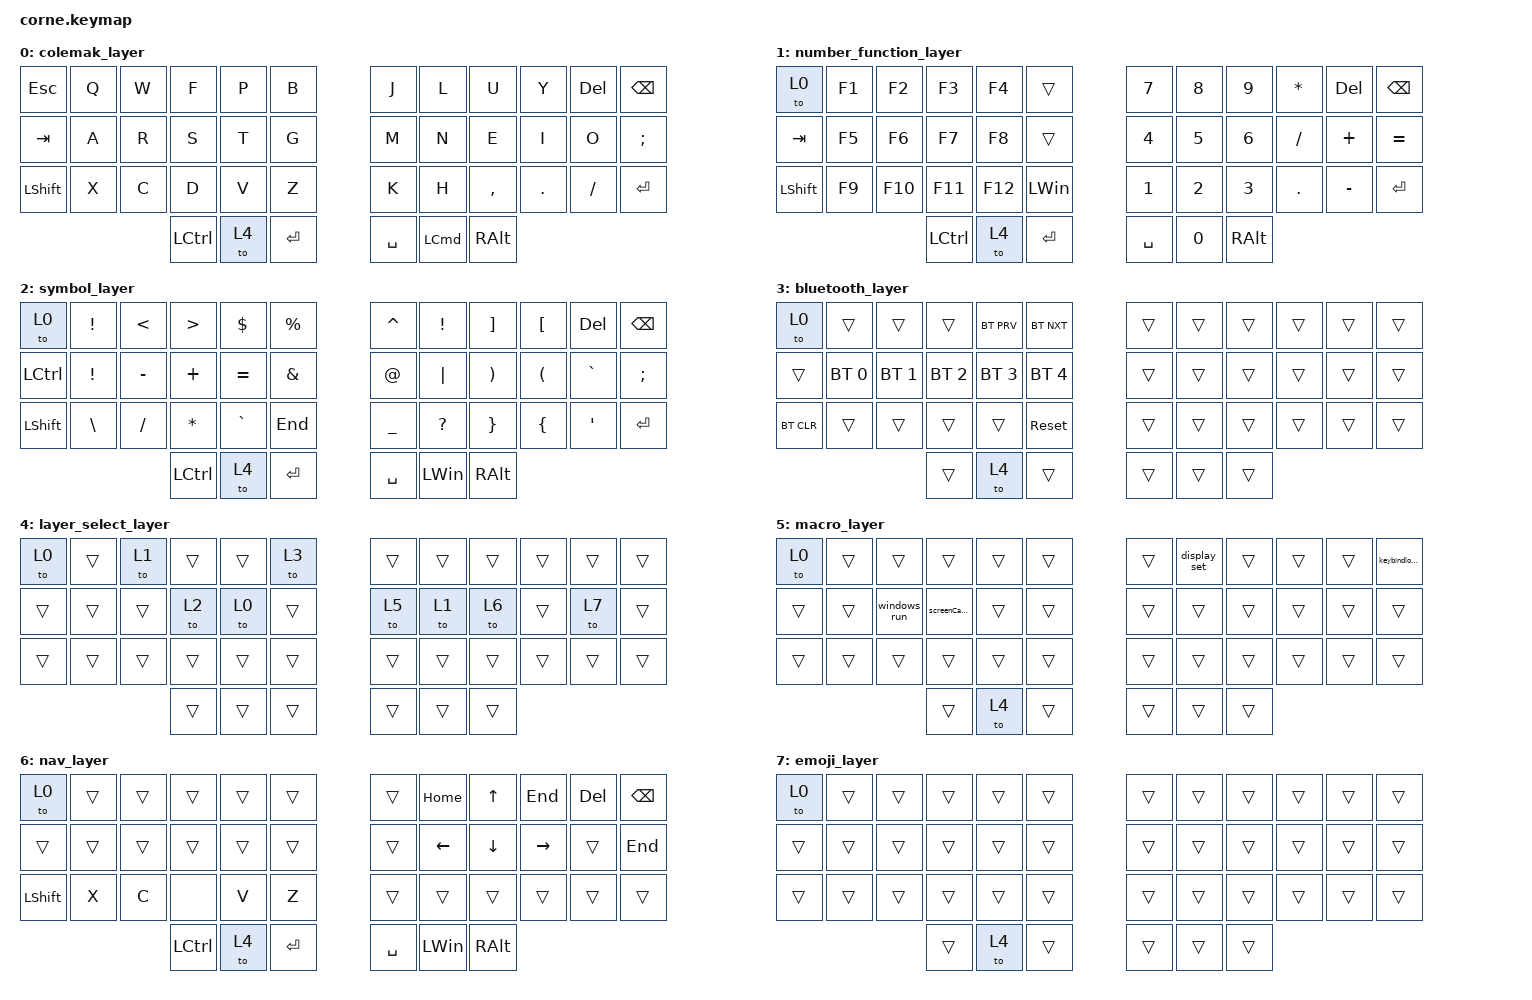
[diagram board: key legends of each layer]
/*
 * Copyright (c) 2020 The ZMK Contributors
 *
 * SPDX-License-Identifier: MIT
 */

#include <behaviors.dtsi>
#include <dt-bindings/zmk/bt.h>
#include <dt-bindings/zmk/keys.h>

/ {
    macros {
        screenCapture: screenCapture {
            compatible = "zmk,behavior-macro";
            #binding-cells = <0>;
            bindings =
                <&macro_press>,
                <&kp LEFT_WIN &kp LEFT_SHIFT &kp S>,
                <&macro_release>;

            label = "SCREENCAPTURE";
        };

        windows_run: windows_run {
            compatible = "zmk,behavior-macro";
            #binding-cells = <0>;
            bindings = <&macro_press>, <&kp LEFT_WIN &kp R>, <&macro_release>;

            label = "WINDOWS_RUN";
        };

        display_set: display_set {
            compatible = "zmk,behavior-macro";
            #binding-cells = <0>;
            bindings = <&none &kp PIPE &kp SPACE &kp D &kp I &kp S &kp P &kp L &kp A &kp Y &kp SPACE &kp S &kp E &kp T &kp RET>;
            label = "DISPLAY_SET";
        };

        url1: key_binding_check {
            compatible = "zmk,behavior-macro";
            #binding-cells = <0>;
            bindings =
                <&none &kp H &kp T &kp T &kp P &kp S &kp COLON &kp FSLH &kp FSLH &kp N &kp I &kp C &kp K &kp C &kp O &kp U &kp T &kp S &kp O &kp S &kp DOT &kp G &kp I &kp T &kp H &kp U &kp B>,
                <&macro_release>;

            label = "KEY_BINDING_CHECK";
        };

        keybindlookup: new_macro {
            compatible = "zmk,behavior-macro";
            #binding-cells = <0>;
            bindings = <&url1 &url2>;
            label = "NEW_MACRO";
        };

        url2: new_macron {
            compatible = "zmk,behavior-macro";
            #binding-cells = <0>;
            bindings = <&none &kp DOT &kp I &kp O &kp FSLH &kp K &kp E &kp Y &kp M &kp A &kp P &kp MINUS &kp E &kp D &kp I &kp T &kp O &kp R &kp FSLH>;
            label = "NEW_MACRON";
        };

        control_x: controlx {
            compatible = "zmk,behavior-macro";
            #binding-cells = <0>;
            bindings =
                <&macro_press>,
                <&kp LEFT_CONTROL &kp X>,
                <&macro_release>;

            label = "CONTROLX";
        };

        control_c: controlc {
            compatible = "zmk,behavior-macro";
            #binding-cells = <0>;
            bindings =
                <&macro_press>,
                <&kp LEFT_CONTROL &kp C>,
                <&macro_release>;

            label = "CONTROLC";
        };

        control_shift_v: control_shift_v {
            compatible = "zmk,behavior-macro";
            #binding-cells = <0>;
            bindings =
                <&macro_press>,
                <&kp LEFT_CONTROL &kp V>,
                <&macro_release>;

            label = "CONTROL_SHIFT_V";
        };

        control_z: control_z {
            compatible = "zmk,behavior-macro";
            #binding-cells = <0>;
            bindings =
                <&macro_press>,
                <&kp LEFT_CONTROL &kp Z>,
                <&macro_release>;

            label = "CONTROL_Z";
        };
    };

    keymap {
        compatible = "zmk,keymap";

        colemak_layer {
            // -----------------------------------------------------------------------------------------
            // |  TAB |  Q  |  W  |  E  |  R  |  T  |   |  Y  |  U   |  I  |  O  |  P  | BKSP |
            // | CTRL |  A  |  S  |  D  |  F  |  G  |   |  H  |  J   |  K  |  L  |  ;  |  '   |
            // | SHFT |  Z  |  X  |  C  |  V  |  B  |   |  N  |  M   |  ,  |  .  |  /  | ESC  |
            //                    | GUI | LWR | SPC |   | ENT | RSE  | ALT |

            bindings = <
&kp ESCAPE      &kp Q  &kp W  &kp F             &kp P  &kp B         &kp J      &kp L             &kp U      &kp Y    &kp DELETE  &kp BSPC
&kp TAB         &kp A  &kp R  &kp S             &kp T  &kp G         &kp M      &kp N             &kp E      &kp I    &kp O       &kp SEMICOLON
&kp LEFT_SHIFT  &kp X  &kp C  &kp D             &kp V  &kp Z         &kp K      &kp H             &kp COMMA  &kp DOT  &kp FSLH    &kp ENTER
                              &kp LEFT_CONTROL  &to 4  &kp RETURN    &kp SPACE  &kp LEFT_COMMAND  &kp RALT
            >;
        };

        number_function_layer {
            // -----------------------------------------------------------------------------------------
            // |  TAB |  1  |  2  |  3  |  4  |  5  |   |  6  |  7  |  8  |  9  |  0  | BKSP |
            // | BTCLR| BT1 | BT2 | BT3 | BT4 | BT5 |   | LFT | DWN |  UP | RGT |     |      |
            // | SHFT |     |     |     |     |     |   |     |     |     |     |     |      |
            //                    | GUI |     | SPC |   | ENT |     | ALT |

            bindings = <
&to 0           &kp F1  &kp F2   &kp F3            &kp F4   &trans          &kp NUMBER_7  &kp NUMBER_8  &kp NUMBER_9  &kp ASTERISK  &kp DELETE  &kp BSPC
&kp TAB         &kp F5  &kp F6   &kp F7            &kp F8   &trans          &kp NUMBER_4  &kp NUMBER_5  &kp NUMBER_6  &kp SLASH     &kp PLUS    &kp EQUAL
&kp LEFT_SHIFT  &kp F9  &kp F10  &kp F11           &kp F12  &kp LEFT_WIN    &kp NUMBER_1  &kp NUMBER_2  &kp NUMBER_3  &kp PERIOD    &kp MINUS   &kp ENTER
                                 &kp LEFT_CONTROL  &to 4    &kp ENTER       &kp SPACE     &kp NUMBER_0  &kp RALT
            >;
        };

        symbol_layer {
            // -----------------------------------------------------------------------------------------
            // |  TAB |  !  |  @  |  #  |  $  |  %  |   |  ^  |  &  |  *  |  (  |  )  | BKSP |
            // | CTRL |     |     |     |     |     |   |  -  |  =  |  [  |  ]  |  \  |  `   |
            // | SHFT |     |     |     |     |     |   |  _  |  +  |  {  |  }  | "|" |  ~   |
            //                    | GUI |     | SPC |   | ENT |     | ALT |

            bindings = <
&to 0      &kp EXCL         &kp LESS_THAN  &kp GREATER_THAN  &kp DLLR   &kp PRCNT        &kp CARET    &kp EXCLAMATION  &kp RIGHT_BRACKET      &kp LEFT_BRACKET      &kp DELETE        &kp BACKSPACE
&kp LCTRL  &kp EXCLAMATION  &kp MINUS      &kp PLUS          &kp EQUAL  &kp AMPERSAND    &kp AT_SIGN  &kp PIPE         &kp RIGHT_PARENTHESIS  &kp LEFT_PARENTHESIS  &kp GRAVE         &kp SEMICOLON
&kp LSHFT  &kp BACKSLASH    &kp SLASH      &kp ASTERISK      &kp GRAVE  &kp END          &kp UNDER    &kp QUESTION     &kp RIGHT_BRACE        &kp LEFT_BRACE        &kp SINGLE_QUOTE  &kp ENTER
                                           &kp LEFT_CONTROL  &to 4      &kp ENTER        &kp SPACE    &kp LEFT_WIN     &kp RALT
            >;
        };

        bluetooth_layer {
            bindings = <
&to 0       &trans        &trans        &trans        &bt BT_PRV    &bt BT_NXT      &trans  &trans  &trans  &trans  &trans  &trans
&trans      &bt BT_SEL 0  &bt BT_SEL 1  &bt BT_SEL 2  &bt BT_SEL 3  &bt BT_SEL 4    &trans  &trans  &trans  &trans  &trans  &trans
&bt BT_CLR  &trans        &trans        &trans        &trans        &sys_reset      &trans  &trans  &trans  &trans  &trans  &trans
                                        &trans        &to 4         &trans          &trans  &trans  &trans
            >;
        };

        layer_select_layer {
            bindings = <
&to 0   &trans  &to 1   &trans  &trans  &to 3     &trans  &trans  &trans  &trans  &trans  &trans
&trans  &trans  &trans  &to 2   &to 0   &trans    &to 5   &to 1   &to 6   &trans  &to 7   &trans
&trans  &trans  &trans  &trans  &trans  &trans    &trans  &trans  &trans  &trans  &trans  &trans
                        &trans  &trans  &trans    &trans  &trans  &trans
            >;
        };

        macro_layer {
            bindings = <
&to 0   &trans  &trans        &trans          &trans  &trans    &trans  &display_set  &trans  &trans  &trans  &keybindlookup
&trans  &trans  &windows_run  &screenCapture  &trans  &trans    &trans  &trans        &trans  &trans  &trans  &trans
&trans  &trans  &trans        &trans          &trans  &trans    &trans  &trans        &trans  &trans  &trans  &trans
                              &trans          &to 4   &trans    &trans  &trans        &trans
            >;
        };

        nav_layer {
            bindings = <
&to 0           &trans  &trans  &trans            &trans  &trans       &trans     &kp HOME        &kp UP_ARROW    &kp END          &kp DEL  &kp BACKSPACE
&trans          &trans  &trans  &trans            &trans  &trans       &trans     &kp LEFT_ARROW  &kp DOWN_ARROW  &kp RIGHT_ARROW  &trans   &kp END
&kp LEFT_SHIFT  &kp X   &kp C   &none             &kp V   &kp Z        &trans     &trans          &trans          &trans           &trans   &trans
                                &kp LEFT_CONTROL  &to 4   &kp ENTER    &kp SPACE  &kp LEFT_WIN    &kp RIGHT_ALT
            >;
        };

        emoji_layer {
            bindings = <
&to 0   &trans  &trans  &trans  &trans  &trans    &trans  &trans  &trans  &trans  &trans  &trans
&trans  &trans  &trans  &trans  &trans  &trans    &trans  &trans  &trans  &trans  &trans  &trans
&trans  &trans  &trans  &trans  &trans  &trans    &trans  &trans  &trans  &trans  &trans  &trans
                        &trans  &to 4   &trans    &trans  &trans  &trans
            >;
        };
    };
};
